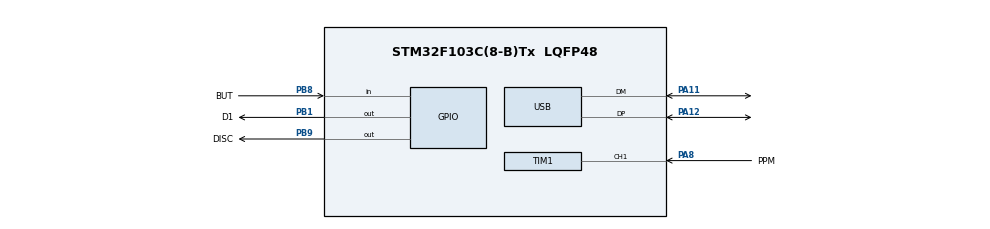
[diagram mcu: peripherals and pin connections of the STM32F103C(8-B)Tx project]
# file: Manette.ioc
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IWDG.Prescaler=IWDG_PRESCALER_8
IWDG.Reload=4095
Mcu.Family=STM32F1
Mcu.Name=STM32F103C(8-B)Tx
Mcu.Package=LQFP48
NVIC.PriorityGroup=NVIC_PRIORITYGROUP_4
NVIC.TIM1_CC_IRQn=true\:0\:0\:false\:false\:true\:true\:true
NVIC.TIM1_UP_IRQn=true\:0\:0\:false\:false\:true\:true\:true
NVIC.USB_LP_CAN1_RX0_IRQn=true\:0\:0\:false\:false\:true\:false\:true
PA11.Mode=Device
PA11.Signal=USB_DM
PA12.Mode=Device
PA12.Signal=USB_DP
PA13.Mode=JTAG_5_pins
PA13.Signal=SYS_JTMS-SWDIO
PA14.Mode=JTAG_5_pins
PA14.Signal=SYS_JTCK-SWCLK
PA15.Mode=JTAG_5_pins
PA15.Signal=SYS_JTDI
PA8.GPIO_Label=PPM
PA8.Signal=S_TIM1_CH1
PB1.GPIO_Label=D1
PB1.GPIO_ModeDefaultOutputPP=GPIO_MODE_OUTPUT_PP
PB1.GPIO_Speed=GPIO_SPEED_FREQ_HIGH
PB1.Signal=GPIO_Output
PB3.Mode=JTAG_5_pins
PB3.Signal=SYS_JTDO-TRACESWO
PB4.Mode=JTAG_5_pins
PB4.Signal=SYS_NJTRST
PB8.GPIO_Label=BUT
PB8.Signal=GPIO_Input
PB9.GPIO_Label=DISC
PB9.GPIO_ModeDefaultOutputPP=GPIO_MODE_OUTPUT_OD
PB9.Signal=GPIO_Output
PD0-OSC_IN.Mode=HSE-External-Oscillator
PD0-OSC_IN.Signal=RCC_OSC_IN
PD1-OSC_OUT.Mode=HSE-External-Oscillator
PD1-OSC_OUT.Signal=RCC_OSC_OUT
ProjectManager.HeapSize=0x200
ProjectManager.StackSize=0x400
ProjectManager.TargetToolchain=STM32CubeIDE
RCC.AHBFreq_Value=48000000
RCC.APB1CLKDivider=RCC_HCLK_DIV2
RCC.APB1Freq_Value=24000000
RCC.APB1TimFreq_Value=48000000
RCC.APB2Freq_Value=48000000
RCC.APB2TimFreq_Value=48000000
RCC.HCLKFreq_Value=48000000
RCC.PLLMUL=RCC_PLL_MUL6
RCC.SYSCLKFreq_VALUE=48000000
RCC.SYSCLKSource=RCC_SYSCLKSOURCE_PLLCLK
RCC.USBFreq_Value=48000000
SH.S_TIM1_CH1.0=TIM1_CH1,Input_Capture1_from_TI1
TIM1.Channel-Input_Capture1_from_TI1=TIM_CHANNEL_1
TIM1.Prescaler=4
USB_DEVICE.CLASS_NAME_FS=CUSTOM_HID
USB_DEVICE.CUSTOM_HID_FS_BINTERVAL=0x1
USB_DEVICE.USBD_CUSTOMHID_OUTREPORT_BUF_SIZE=48
USB_DEVICE.USBD_CUSTOM_HID_REPORT_DESC_SIZE=48
USB_DEVICE.VirtualMode=CustomHid
USB_DEVICE.VirtualModeFS=Custom_Hid_FS
VP_IWDG_VS_IWDG.Mode=IWDG_Activate
VP_TIM1_VS_ClockSourceINT.Mode=Internal
VP_USB_DEVICE_VS_USB_DEVICE_CUSTOM_HID_FS.Mode=CUSTOM_HID_FS
board=custom

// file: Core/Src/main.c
/* USER CODE BEGIN Header */
/**
  ******************************************************************************
  * @file           : main.c
  * @brief          : Main program body
  ******************************************************************************
  * @attention
  *
  * <h2><center>&copy; Copyright (c) 2021 STMicroelectronics.
  * All rights reserved.</center></h2>
  *
  * This software component is licensed by ST under Ultimate Liberty license
  * SLA0044, the "License"; You may not use this file except in compliance with
  * the License. You may obtain a copy of the License at:
  *                             www.st.com/SLA0044
  *
  ******************************************************************************
  */
/* USER CODE END Header */
#include "main.h"
#include "iwdg.h"
#include "tim.h"
#include "usb_device.h"
#include "gpio.h"

/* USER CODE BEGIN Includes */
#include "usbd_custom_hid_if.h"
#include "ppm.h"
/* USER CODE END Includes */

void SystemClock_Config(void);

int main(void)
{

  /* MCU Configuration--------------------------------------------------------*/

  /* Reset of all peripherals, Initializes the Flash interface and the Systick. */
  HAL_Init();

  /* Configure the system clock */
  SystemClock_Config();

  /* Initialize all configured peripherals */
  MX_GPIO_Init();
  MX_USB_DEVICE_Init();
  MX_IWDG_Init();
  MX_TIM1_Init();
  /* USER CODE BEGIN 2 */
  // Setup PPM module
  const uint32_t prescaler = LL_TIM_GetPrescaler(TIM1);
  const uint32_t clock = 48000000 / (prescaler + 1);
  PPM_Init(clock);

  // Start the timer
  LL_TIM_CC_EnableChannel(TIM1, LL_TIM_CHANNEL_CH1);
  LL_TIM_EnableIT_CC1(TIM1);
  LL_TIM_EnableIT_UPDATE(TIM1);
  LL_TIM_EnableCounter(TIM1);

  // Current report contains X, Y, Throttle, Rudder as 8-bit outputs,
  // 4 buttons as 1-bit outputs and 4 constant 1-bit outputs for alignment
  uint8_t report_buffer[5] = {0};
  bool report_changed = false;
  /* USER CODE END 2 */

  /* Infinite loop */
  /* USER CODE BEGIN WHILE */
  while (1)
  {
    LL_IWDG_ReloadCounter(IWDG);

#if 0 // TEST BUTTON
    const bool button_pressed = LL_GPIO_IsInputPinSet(BUT_GPIO_Port, BUT_Pin);
    if (button_pressed)
    {
      LL_GPIO_SetOutputPin(D1_GPIO_Port, D1_Pin);
    }
    else
    {
      LL_GPIO_ResetOutputPin(D1_GPIO_Port, D1_Pin);
    }
#endif

    if (PPM_NEW_DATA)
    {
      PPM_NEW_DATA = false;

      for (uint8_t i = 0; i < 8; ++i)
      {
        const uint8_t channel_value = PPM_GetChannel(i);

#if 0 // TEST CHANNEL
        if (i == 2 && channel_value > 127)
        {
          LL_GPIO_SetOutputPin(D1_GPIO_Port, D1_Pin);
        }
        else if (i == 2 && channel_value <= 127)
        {
          LL_GPIO_ResetOutputPin(D1_GPIO_Port, D1_Pin);
        }
#endif

        // For the last 4 channels (8-bit -> 1-bit)
        const uint8_t but_report_index = 4;
        if (i >= but_report_index)
        {
          const uint8_t but_mask_index = i - but_report_index;
          const uint8_t bit_mask = (1 << but_mask_index);

          // Get i-th bit
          const uint8_t current_value = report_buffer[but_report_index] & bit_mask;

          // Compute the new i-th bit
          const uint8_t but_pressed = (channel_value < 127);
          const uint8_t but_value = but_pressed << but_mask_index;

          // Compare current vs. new
          if (current_value != but_value)
          {
            // set/reset only the correct bit
            report_buffer[but_report_index] &= ~bit_mask;
            report_buffer[but_report_index] |= but_value;
            report_changed = true;
          }
        }
        // For the first 4 channels (8-bit each)
        else if (report_buffer[i] != channel_value)
        {
          report_buffer[i] = channel_value;
          report_changed = true;
        }
      }

      if (report_changed)
      {
        const uint8_t status = USBD_CUSTOM_HID_SendReport_FS(report_buffer, sizeof(report_buffer));
        if (status == USBD_OK)
        {
          report_changed = false;
        }
      }
    }

    /* USER CODE END WHILE */

  }
}

void SystemClock_Config(void)
{
  LL_FLASH_SetLatency(LL_FLASH_LATENCY_1);
  while(LL_FLASH_GetLatency()!= LL_FLASH_LATENCY_1)
  {
  }
  LL_RCC_HSE_Enable();

   /* Wait till HSE is ready */
  while(LL_RCC_HSE_IsReady() != 1)
  {

  }
  LL_RCC_LSI_Enable();

   /* Wait till LSI is ready */
  while(LL_RCC_LSI_IsReady() != 1)
  {

  }
  LL_RCC_PLL_ConfigDomain_SYS(LL_RCC_PLLSOURCE_HSE_DIV_1, LL_RCC_PLL_MUL_6);
  LL_RCC_PLL_Enable();

   /* Wait till PLL is ready */
  while(LL_RCC_PLL_IsReady() != 1)
  {

  }
  LL_RCC_SetAHBPrescaler(LL_RCC_SYSCLK_DIV_1);
  LL_RCC_SetAPB1Prescaler(LL_RCC_APB1_DIV_2);
  LL_RCC_SetAPB2Prescaler(LL_RCC_APB2_DIV_1);
  LL_RCC_SetSysClkSource(LL_RCC_SYS_CLKSOURCE_PLL);

   /* Wait till System clock is ready */
  while(LL_RCC_GetSysClkSource() != LL_RCC_SYS_CLKSOURCE_STATUS_PLL)
  {

  }
  LL_SetSystemCoreClock(48000000);

   /* Update the time base */
  if (HAL_InitTick (TICK_INT_PRIORITY) != HAL_OK)
  {
    Error_Handler();
  }
  LL_RCC_SetUSBClockSource(LL_RCC_USB_CLKSOURCE_PLL);
}

void Error_Handler(void)
{
  __disable_irq();
  while (1)
  {
  }
}

/************************ (C) COPYRIGHT STMicroelectronics *****END OF FILE****/
